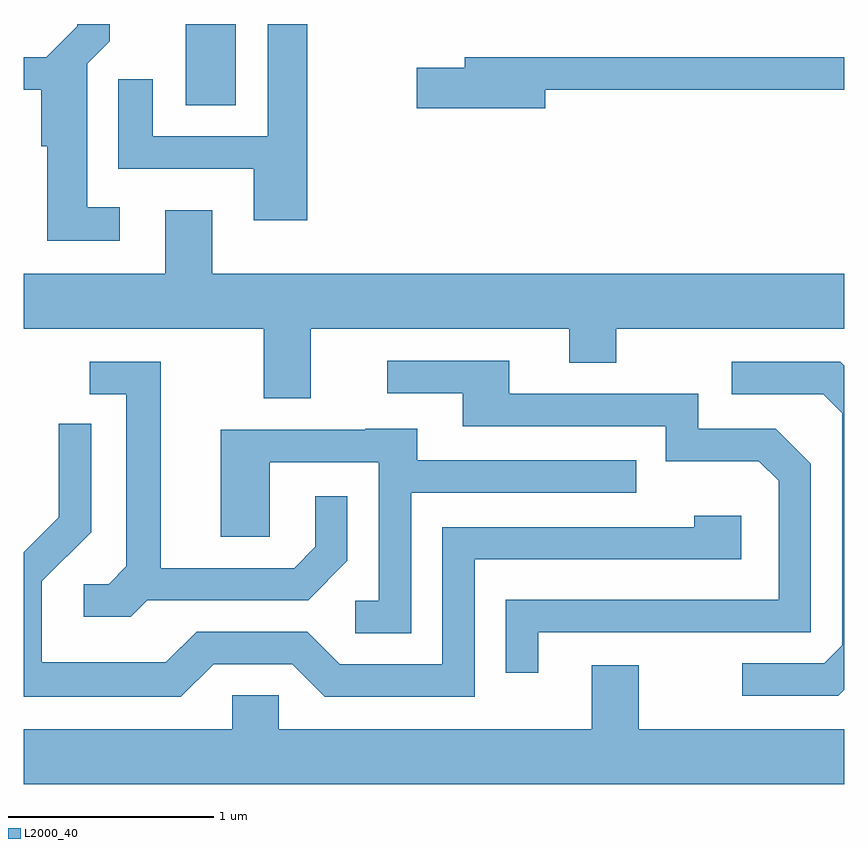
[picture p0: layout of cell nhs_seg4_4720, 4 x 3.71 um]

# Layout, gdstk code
import gdstk
lib = gdstk.Library(unit=1e-6, precision=1e-09)
def R(c, l, rs):  # rectangles x0, y0, x1, y1
    for r in rs: c.add(gdstk.rectangle(r[:2], r[2:], *l))
def P(c, l, *ps):  # polygons
    for p in ps: c.add(gdstk.Polygon(p, *l))
L2000_40 = (2000, 40)

nhs_seg4_4720 = lib.new_cell('nhs_seg4_4720')
R(nhs_seg4_4720, L2000_40, [(324.401,1313.586,324.644,1313.982)])
P(nhs_seg4_4720, L2000_40, [(324.078,1313.089),(323.919,1313.089),(323.919,1313.789),(324.029,1313.899),(324.029,1313.982),(323.871,1313.982),(323.871,1313.972),(323.719,1313.819),(323.611,1313.819),(323.611,1313.661),(323.696,1313.661),(323.696,1313.386),(323.726,1313.386),(323.726,1312.926),(324.078,1312.926)],
  [(324.994,1313.982),(324.801,1313.982),(324.801,1313.434),(324.239,1313.434),(324.239,1313.713),(324.071,1313.713),(324.071,1313.276),(324.731,1313.276),(324.731,1313.026),(324.994,1313.026)],
  [(326.154,1313.661),(327.611,1313.661),(327.611,1313.819),(325.761,1313.819),(325.761,1313.769),(325.526,1313.769),(325.526,1313.571),(326.154,1313.571)],
  [(325.009,1312.496),(326.271,1312.496),(326.271,1312.331),(326.499,1312.331),(326.499,1312.496),(327.611,1312.496),(327.611,1312.764),(324.529,1312.764),(324.529,1313.074),(324.301,1313.074),(324.301,1312.764),(323.611,1312.764),(323.611,1312.496),(324.781,1312.496),(324.781,1312.156),(325.009,1312.156)],
  [(326.119,1311.016),(327.449,1311.016),(327.449,1311.837),(327.277,1312.009),(326.899,1312.009),(326.899,1312.179),(325.979,1312.179),(325.979,1312.339),(325.383,1312.339),(325.383,1312.181),(325.751,1312.181),(325.751,1312.021),(326.741,1312.021),(326.741,1311.851),(327.194,1311.851),(327.291,1311.754),(327.291,1311.174),(325.961,1311.174),(325.961,1310.818),(326.119,1310.818)],
  [(324.212,1311.171),(324.997,1311.171),(325.189,1311.364),(325.189,1311.678),(325.031,1311.678),(325.031,1311.432),(324.929,1311.329),(324.279,1311.329),(324.279,1312.334),(323.933,1312.334),(323.933,1312.176),(324.111,1312.176),(324.111,1311.337),(324.024,1311.249),(323.903,1311.249),(323.903,1311.091),(324.132,1311.091)],
  [(327.611,1310.735),(327.611,1312.315),(327.592,1312.334),(327.063,1312.334),(327.063,1312.176),(327.509,1312.176),(327.601,1312.084),(327.601,1310.952),(327.514,1310.864),(327.113,1310.864),(327.113,1310.706),(327.582,1310.706)],
  [(324.537,1310.861),(324.919,1310.861),(325.079,1310.701),(325.809,1310.701),(325.809,1311.371),(327.109,1311.371),(327.109,1311.584),(326.881,1311.584),(326.881,1311.529),(325.651,1311.529),(325.651,1310.859),(325.152,1310.859),(324.992,1311.019),(324.454,1311.019),(324.304,1310.869),(323.699,1310.869),(323.699,1311.264),(323.939,1311.504),(323.939,1312.033),(323.781,1312.033),(323.781,1311.577),(323.611,1311.407),(323.611,1310.701),(324.377,1310.701)],
  [(325.499,1311.696),(326.598,1311.696),(326.598,1311.854),(325.529,1311.854),(325.529,1312.009),(325.275,1312.009),(325.275,1312.004),(324.571,1312.004),(324.571,1311.481),(324.809,1311.481),(324.809,1311.846),(325.341,1311.846),(325.341,1311.169),(325.228,1311.169),(325.228,1311.011),(325.499,1311.011)],
  [(327.611,1310.544),(326.609,1310.544),(326.609,1310.854),(326.381,1310.854),(326.381,1310.544),(324.854,1310.544),(324.854,1310.709),(324.626,1310.709),(324.626,1310.544),(323.611,1310.544),(323.611,1310.276),(327.611,1310.276)])

lib.write_gds('nhs_seg4_4720.gds')
